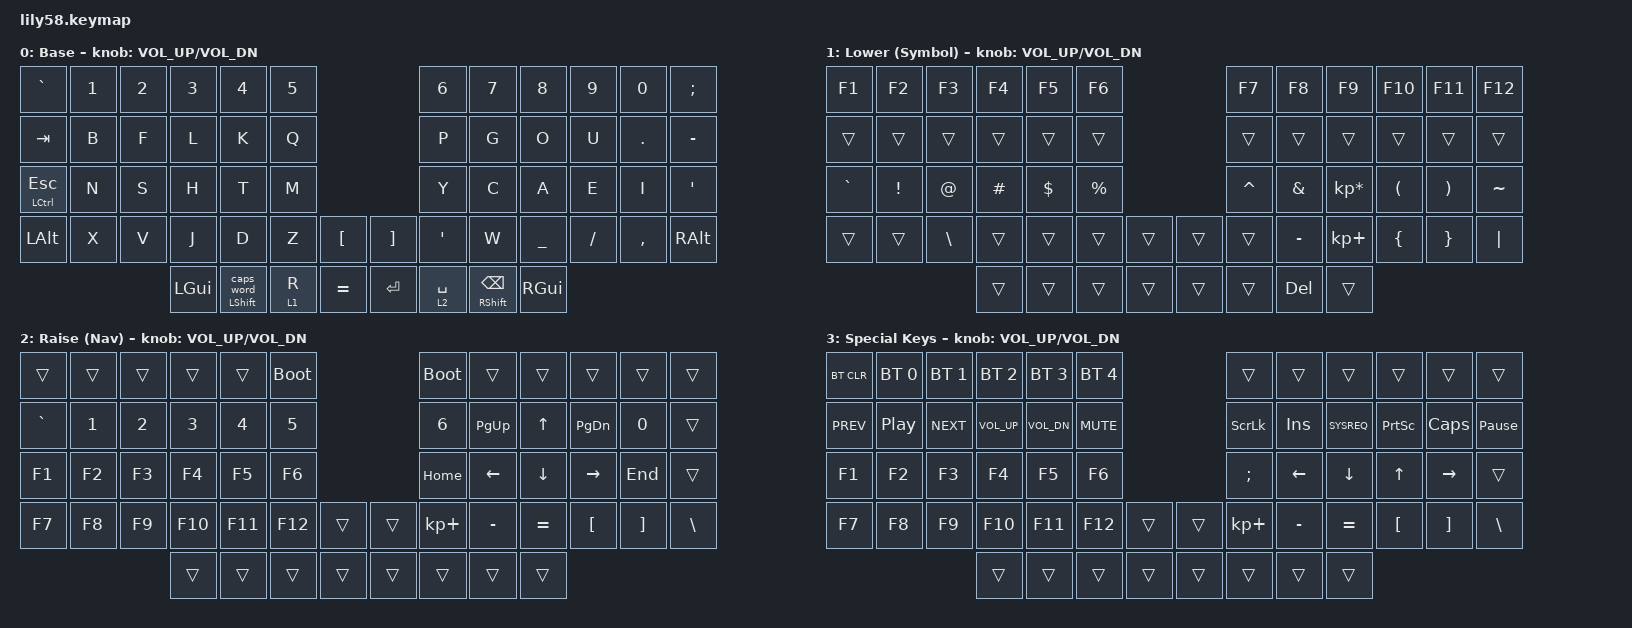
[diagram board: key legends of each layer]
/*
 * Copyright (c) 2020 The ZMK Contributors
 *
 * SPDX-License-Identifier: MIT
 */

// https://nickcoutsos.github.io/keymap-editor/

#include <behaviors.dtsi>
#include <dt-bindings/zmk/keys.h>
#include <dt-bindings/zmk/bt.h>
#include <dt-bindings/zmk/ext_power.h>

&caps_word {
    continue-list = <UNDERSCORE BACKSPACE DELETE MINUS>;
};

/ {
    macros {
        scrn: screenshot {
            compatible = "zmk,behavior-macro";
            #binding-cells = <0>;
            bindings
                = <&macro_press &kp LSHFT &kp LCTRL>
                , <&macro_tap &kp P>
                , <&macro_release &kp LSHFT &kp LCTRL>
                ;
        };
        dd: parent_dir {
            compatible = "zmk,behavior-macro";
            #binding-cells = <0>;
            wait-ms = <40>;
            tap-ms  = <40>;
            bindings
                = <&macro_tap &kp DOT &kp DOT &kp FSLH>
                ;
        };
    };
    behaviors {
        // ccw: custom_caps_word {
        //     display-name = "CapsWord-Mod-Tap";
        //     compatible = "zmk,behavior-caps-word";
        //     #binding-cells = <0>;
        //     continue-list = <UNDERSCORE BACKSPACE DELETE MINUS>;
        // };
        scw: shift_caps_word {
            display-name = "CapsWord-Mod-Tap";
            compatible = "zmk,behavior-hold-tap";
            bindings = <&kp>, <&caps_word>;
            #binding-cells = <2>;
            tapping-term-ms = <140>;
            flavor = "balanced";
        };
        // https://getreuer.info/posts/keyboards/faqs/index.html#home-row-mods-are-hard-to-use
        // hml: home_row_mod_left {
        //     compatible = "zmk,behavior-hold-tap";
        //     flavor = "balanced";
        // };
    };
    conditional_layers {
        compatible = "zmk,conditional-layers";
        tri_layer {
            if-layers = <1 2>;
            then-layer = <3>;
        };
    };
    keymap {
        compatible = "zmk,keymap";

        default_layer { // layer 0
// -------------------------------------------------------------------------------------------------------------------------
// |  "`"    |   1   |   2   |   3   |     4    |    5   |                   |  6   |  7    |  8    |  9   |   0   |   ;   |
// |  TAB    |   B   |   F   |   L   |     K    |    Q   |                   |  P   |  G    |  O    |  U   |   .   |   -   |
// |CTRL/ESC |   N   |   S   |   H   |     T    |    M   |                   |  Y   |  C    |  A    |  E   |   I   |   '   |
// | LALT    |   X   |   V   |   J   |     D    |    Z   |   "["  |  |  "]"  |  '   |  W    |  _    |  /   |   ,   | RALT  |
//                           | SUPER |CAPWRD/SHFT|  ↓/R  |  EQUAL |  | ENTER | ↑/␣  | SHIFT/BSPC| SUPER |
            display-name = "Base";
            bindings = <
&kp GRAVE     &kp N1 &kp N2 &kp N3    &kp N4   &kp N5                       &kp N6      &kp N7         &kp N8     &kp N9   &kp N0    &kp SEMI
&kp TAB       &kp B  &kp F  &kp L     &kp K    &kp Q                        &kp P       &kp G          &kp O      &kp U    &kp DOT   &kp MINUS
&mt LCTRL ESC &kp N  &kp S  &kp H     &kp T    &kp M                        &kp Y       &kp C          &kp A      &kp E    &kp I     &kp SQT
&kp LALT      &kp X  &kp V  &kp J     &kp D    &kp Z    &kp LBKT  &kp RBKT  &kp SQT     &kp W          &kp UNDER  &kp FSLH &kp COMMA &kp RALT
                          &kp LGUI  &scw LSHFT 0 &lt 1 R &kp EQUAL &kp RET   &lt 2 SPACE &mt RSHFT BSPC &kp RGUI
            >;

            sensor-bindings = <&inc_dec_kp C_VOL_UP C_VOL_DN>;
        };

        lower_layer { // layer 1
// TODO: https://getreuer.info/posts/keyboards/symbol-layer/index.html
// ------------------------------------------------------------------------------------------------------------
// |  F1   |  F2 |  F3 |  F4  |  F5  |  F6  |                   |  F7  |  F8   |  F9   |  F10 |  F11  |  F12  |
// |       |     |     |      |      |      |                   |      |       |       |      |       |       |
// |   `   |  !  |  @  |  #   |  $   |  %   |                   |  ^   |  &    |  *    |  (   |   )   |   ~   |
// |       |     |  \  |      |      |      |        |  |       |      |  _    |  +    |  {   |   }   |  "|"  |
//                     |      |      |      |        |  |       |      |       |       |
            display-name = "Lower (Symbol)";
            bindings = <
&kp F1     &kp F2           &kp F3            &kp F4            &kp F5       &kp F6                       &kp F7    &kp F8    &kp F9          &kp F10   &kp F11   &kp F12
&trans     &trans           &trans            &trans            &trans       &trans                       &trans    &trans    &trans          &trans    &trans    &trans
&kp GRAVE  &kp EXCL         &kp AT            &kp HASH          &kp DOLLAR   &kp PRCNT                    &kp CARET &kp AMPS  &kp KP_MULTIPLY &kp LPAR  &kp RPAR  &kp TILDE
&trans     &trans           &kp BSLH          &trans            &trans       &trans    &trans   &trans    &trans    &kp MINUS &kp KP_PLUS     &kp LBRC  &kp RBRC  &kp PIPE
                                              &trans            &trans       &trans    &trans   &trans    &trans    &kp DEL   &trans
            >;

            sensor-bindings = <&inc_dec_kp C_VOL_UP C_VOL_DN>;
        };

        raise_layer { // layer 2 
// ------------------------------------------------------------------------------------------------------------
// |       |     |     |      |      |      |                   |      |       |       |      |       |       |
// |   `   |  1  |  2  |  3   |  4   |  5   |                   |  6   |   7   |   ^   |  9   |   0   |       |
// |   F1  |  F2 |  F3 |  F4  |  F5  |  F6  |                   |  ;   |   <-  |   v   |  ->  |  ->   |       |
// |   F7  |  F8 |  F9 |  F10 |  F11 |  F12 |        |  |       |  +   |   -   |   =   |  [   |   ]   |   \   |
//                     |      |      |      |        |  |       |      |       |       |
            display-name = "Raise (Nav)";
            bindings = <
&trans    &trans &trans &trans  &trans  &bootloader             &bootloader  &trans    &trans      &trans    &trans    &trans
&kp GRAVE &kp N1 &kp N2 &kp N3  &kp N4  &kp N5                  &kp N6       &kp PG_UP &kp UP      &kp PG_DN &kp N0    &trans
&kp F1    &kp F2 &kp F3 &kp F4  &kp F5  &kp F6                  &kp HOME     &kp LEFT  &kp DOWN    &kp RIGHT &kp END   &trans
&kp F7    &kp F8 &kp F9 &kp F10 &kp F11 &kp F12 &trans  &trans  &kp KP_PLUS  &kp MINUS &kp EQUAL   &kp LBKT  &kp RBKT  &kp BSLH
                        &trans  &trans  &trans  &trans  &trans  &trans       &trans    &trans
            >;

            sensor-bindings = <&inc_dec_kp C_VOL_UP C_VOL_DN>;
        };

        adjust { // layer 3
// ------------------------------------------------------------------------------------------------------------
// | BTCLR | BT1   | BT2  |  BT3   |  BT4   |  BT5  |                   |      |       |       |      |       |       |
// | Prev  | Pause | Next |  VolUp |  VolDn |  Mute |                   |      |       |       |      |       |       |
// |       |       |      |        |        |       |                   |      |       |       |      |       |       |
// |       |       |      |        |        |       |                   |      |       |       |      |       |       |
//                        |        |        |       |        |  |       |      |       |       |
            display-name = "Special Keys";
            bindings = <
&bt BT_CLR &bt BT_SEL 0     &bt BT_SEL 1      &bt BT_SEL 2      &bt BT_SEL 3 &bt BT_SEL 4                 &trans    &trans    &trans          &trans    &trans    &trans
&kp C_PREV &kp C_PLAY_PAUSE  &kp C_NEXT &kp C_VOL_UP  &kp C_VOL_DN  &kp C_MUTE                       &kp SLCK      &kp INS    &kp SYSREQ    &kp PSCRN   &kp CAPS    &kp PAUSE_BREAK
&kp F1     &kp F2 &kp F3 &kp F4  &kp F5  &kp F6                       &kp SEMI    &kp LEFT  &kp DOWN  &kp UP   &kp RIGHT &trans
&kp F7     &kp F8 &kp F9 &kp F10 &kp F11 &kp F12   &trans   &trans    &kp KP_PLUS &kp MINUS &kp EQUAL &kp LBKT &kp RBKT  &kp BSLH
                        &trans  &trans  &trans    &trans   &trans    &trans      &trans    &trans
            >;

            // copied from the default layers, but I think this is only necessary if your KB has EC11 encoders
            sensor-bindings = <&inc_dec_kp C_VOL_UP C_VOL_DN>;
        };

        extra_2 { // layer 4 (wasd/gaming?)
            status = "reserved";
        };

        extra_3 {
            status = "reserved";
        };
    };
};
